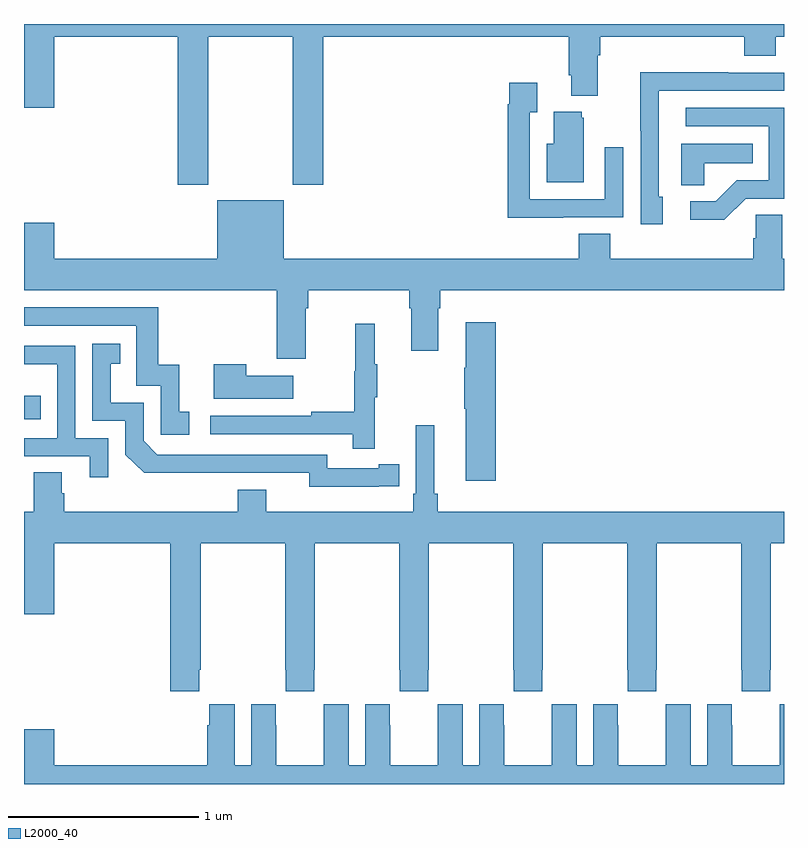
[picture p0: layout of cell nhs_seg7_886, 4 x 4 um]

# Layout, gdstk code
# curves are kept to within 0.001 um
import gdstk
lib = gdstk.Library(unit=1e-6, precision=1e-09)
def R(c, l, rs):  # rectangles x0, y0, x1, y1
    for r in rs: c.add(gdstk.rectangle(r[:2], r[2:], *l))
def P(c, l, *ps):  # polygons
    for p in ps: c.add(gdstk.Polygon(p, *l))
L2000_40 = (2000, 40)

nhs_seg7_886 = lib.new_cell('nhs_seg7_886')
R(nhs_seg7_886, L2000_40, [(177,1015.92,177.089,1016.043)])
P(nhs_seg7_886, L2000_40, [(177.969,1017.932),(178.414,1017.932),(178.414,1017.153),(178.574,1017.153),(178.574,1017.932),(179.867,1017.932),(179.867,1017.73),(179.879,1017.73),(179.879,1017.623),(180.019,1017.623),(180.019,1017.836),(180.032,1017.836),(180.032,1017.932),(180.791,1017.932),(180.791,1017.833),(180.956,1017.833),(180.956,1017.932),(181,1017.932),(181,1018),(177,1018),(177,1017.558),(177.16,1017.558),(177.16,1017.932),(177.809,1017.932),(177.809,1017.153),(177.969,1017.153)],
  [(180.361,1017.09),(180.342,1017.09),(180.342,1017.648),(181,1017.648),(181,1017.744),(180.707,1017.744),(180.707,1017.746),(180.244,1017.746),(180.244,1017.439),(180.246,1017.439),(180.246,1016.946),(180.361,1016.946)],
  [(179.837,1016.982),(180.153,1016.982),(180.153,1017.352),(180.057,1017.352),(180.057,1017.078),(179.661,1017.078),(179.661,1017.535),(179.701,1017.535),(179.701,1017.691),(179.553,1017.691),(179.553,1017.578),(179.545,1017.578),(179.545,1016.981),(179.837,1016.981)],
  [(180.798,1017.081),(181,1017.081),(181,1017.558),(180.483,1017.558),(180.483,1017.462),(180.921,1017.462),(180.921,1017.177),(180.752,1017.177),(180.641,1017.066),(180.507,1017.066),(180.507,1016.969),(180.685,1016.969)],
  [(179.947,1017.507),(179.936,1017.507),(179.936,1017.538),(179.789,1017.538),(179.789,1017.37),(179.75,1017.37),(179.75,1017.167),(179.947,1017.167)],
  [(180.579,1017.266),(180.836,1017.266),(180.836,1017.37),(180.458,1017.37),(180.458,1017.151),(180.579,1017.151)],
  [(178.016,1016.764),(177.16,1016.764),(177.16,1016.953),(177,1016.953),(177,1016.6),(178.331,1016.6),(178.331,1016.238),(178.483,1016.238),(178.483,1016.504),(178.496,1016.504),(178.496,1016.6),(179.027,1016.6),(179.027,1016.504),(179.039,1016.504),(179.039,1016.28),(179.179,1016.28),(179.179,1016.504),(179.192,1016.504),(179.192,1016.6),(181,1016.6),(181,1016.764),(180.991,1016.764),(180.991,1016.996),(180.852,1016.996),(180.852,1016.873),(180.839,1016.873),(180.839,1016.764),(180.086,1016.764),(180.086,1016.897),(179.921,1016.897),(179.921,1016.764),(178.366,1016.764),(178.366,1017.073),(178.016,1017.073)],
  [(177.871,1015.959),(177.818,1015.959),(177.818,1016.206),(177.707,1016.206),(177.707,1016.508),(177,1016.508),(177,1016.412),(177.591,1016.412),(177.591,1016.097),(177.72,1016.097),(177.72,1015.839),(177.871,1015.839)],
  [(179.483,1016.431),(179.324,1016.431),(179.324,1016.192),(179.317,1016.192),(179.317,1015.975),(179.324,1015.975),(179.324,1015.596),(179.483,1015.596)],
  [(178.847,1016.035),(178.858,1016.035),(178.858,1016.209),(178.847,1016.209),(178.847,1016.422),(178.744,1016.422),(178.744,1016.172),(178.737,1016.172),(178.737,1015.958),(178.513,1015.958),(178.513,1015.938),(177.981,1015.938),(177.981,1015.842),(178.729,1015.842),(178.729,1015.764),(178.847,1015.764)],
  [(178.868,1015.566),(178.976,1015.566),(178.976,1015.682),(178.868,1015.682),(178.868,1015.662),(178.596,1015.662),(178.596,1015.734),(177.702,1015.734),(177.63,1015.806),(177.63,1016.007),(177.457,1016.007),(177.457,1016.211),(177.506,1016.211),(177.506,1016.317),(177.36,1016.317),(177.36,1015.911),(177.534,1015.911),(177.534,1015.734),(177.632,1015.637),(178.5,1015.638),(178.5,1015.565)],
  [(177.444,1015.821),(177.27,1015.821),(177.27,1016.307),(177,1016.307),(177,1016.21),(177.174,1016.21),(177.174,1015.821),(177,1015.821),(177,1015.725),(177.347,1015.725),(177.347,1015.614),(177.444,1015.614)],
  [(178.417,1016.149),(178.169,1016.149),(178.169,1016.209),(177.998,1016.209),(177.998,1016.027),(178.417,1016.027)],
  [(177.923,1014.601),(177.93,1014.601),(177.93,1015.268),(178.375,1015.268),(178.375,1014.601),(178.377,1014.601),(178.377,1014.489),(178.527,1014.489),(178.527,1014.601),(178.53,1014.601),(178.53,1015.268),(178.975,1015.268),(178.975,1014.601),(178.977,1014.601),(178.977,1014.489),(179.127,1014.489),(179.127,1014.601),(179.13,1014.601),(179.13,1015.268),(179.575,1015.268),(179.575,1014.601),(179.577,1014.601),(179.577,1014.489),(179.727,1014.489),(179.727,1014.601),(179.73,1014.601),(179.73,1015.268),(180.175,1015.268),(180.175,1014.601),(180.177,1014.601),(180.177,1014.489),(180.327,1014.489),(180.327,1014.601),(180.33,1014.601),(180.33,1015.268),(180.775,1015.268),(180.775,1014.601),(180.777,1014.601),(180.777,1014.489),(180.927,1014.489),(180.927,1014.601),(180.93,1014.601),(180.93,1015.268),(181,1015.268),(181,1015.432),(179.177,1015.432),(179.177,1015.528),(179.158,1015.528),(179.158,1015.888),(179.061,1015.888),(179.061,1015.528),(179.048,1015.528),(179.048,1015.432),(178.276,1015.432),(178.276,1015.549),(178.124,1015.549),(178.124,1015.432),(177.212,1015.432),(177.212,1015.53),(177.199,1015.53),(177.199,1015.64),(177.052,1015.64),(177.052,1015.432),(177,1015.432),(177,1014.894),(177.16,1014.894),(177.16,1015.268),(177.77,1015.268),(177.77,1014.489),(177.923,1014.489)],
  [(180.378,1014.421),(180.378,1014.308),(180.377,1014.308),(180.377,1014.1),(180.127,1014.1),(180.127,1014.308),(180.126,1014.308),(180.126,1014.421),(179.996,1014.421),(179.996,1014.1),(179.908,1014.1),(179.908,1014.421),(179.778,1014.421),(179.778,1014.308),(179.777,1014.308),(179.777,1014.1),(179.527,1014.1),(179.527,1014.308),(179.526,1014.308),(179.526,1014.421),(179.396,1014.421),(179.396,1014.1),(179.308,1014.1),(179.308,1014.421),(179.178,1014.421),(179.178,1014.308),(179.177,1014.308),(179.177,1014.1),(178.927,1014.1),(178.927,1014.308),(178.926,1014.308),(178.926,1014.421),(178.796,1014.421),(178.796,1014.1),(178.708,1014.1),(178.708,1014.421),(178.578,1014.421),(178.578,1014.308),(178.577,1014.308),(178.577,1014.1),(178.327,1014.1),(178.327,1014.308),(178.326,1014.308),(178.326,1014.421),(178.196,1014.421),(178.196,1014.1),(178.108,1014.1),(178.108,1014.421),(177.974,1014.421),(177.974,1014.308),(177.965,1014.308),(177.965,1014.1),(177.16,1014.1),(177.16,1014.289),(177,1014.289),(177,1014),(181,1014),(181,1014.421),(180.978,1014.421),(180.978,1014.308),(180.977,1014.308),(180.977,1014.1),(180.727,1014.1),(180.727,1014.308),(180.726,1014.308),(180.726,1014.421),(180.596,1014.421),(180.596,1014.1),(180.508,1014.1),(180.508,1014.421)])

lib.write_gds('nhs_seg7_886.gds')
